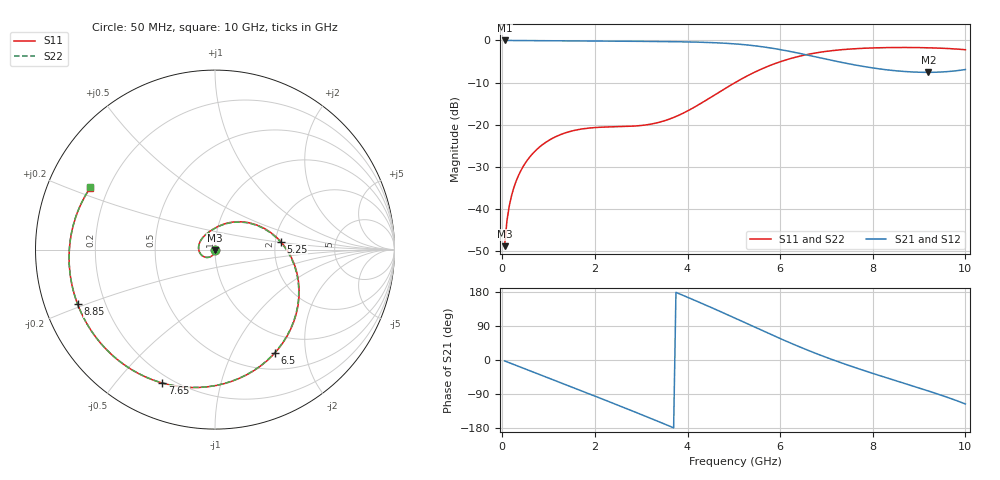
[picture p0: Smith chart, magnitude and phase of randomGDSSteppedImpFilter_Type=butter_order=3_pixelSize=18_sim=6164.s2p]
! freq	dB(S11)	phase(S11)	dB(S12)	phase(S12)
!  dB(S21)	phase(S21)	dB(S22)	phase(S22)
!S-par simulation data
#  GHz  S  DB  R 50
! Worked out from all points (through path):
!   200 points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, 50 MHz to 10 GHz, reference 50 ohm
!   highest |S21| = 0.00 dB at 50 MHz (marker M1); lowest = -7.6 dB at 9.2 GHz (marker M2)
!   group delay of S21, straight-line fit = 136 ps
!   lowest |S11| = -48.9 dB at 50 MHz (marker M3), VSWR 1.01, Z = 50 - j0.359 ohm
!   |S11| at or under -10 dB: start of sweep to 5.03 GHz
!   |S22| runs from -48.9 to -1.7 dB; largest |S21 - S12| = 0
!   S11 on the Smith chart (normalised r, x): 50 MHz: 1.00, -0.01; 5.25 GHz: 2.14, +0.22; 6.5 GHz: 0.72, -1.49; 7.65 GHz: 0.16, -0.67; 8.85 GHz: 0.10, -0.19; 10 GHz: 0.13, +0.23
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0.05  -48.91 -91.3  -0.00 -2.4  -0.00 -2.4  -48.91 -91.3
0.1  -42.89 -94.1  -0.01 -4.8  -0.01 -4.8  -42.89 -94.1
0.2  -36.90 -99.0  -0.02 -9.6  -0.02 -9.6  -36.90 -99.1
0.5  -29.11 -113.3  -0.03 -23.9  -0.03 -23.9  -29.11 -113.4
1.15  -22.89 -145.2  -0.08 -54.8  -0.08 -54.8  -22.90 -145.3
1.75  -21.00 -174.7  -0.13 -83.3  -0.13 -83.3  -21.00 -175.0
2.5  -20.51 148.9  -0.18 -119.4  -0.18 -119.4  -20.51 148.3
3.4  -19.42 104.1  -0.26 -163.8  -0.26 -163.8  -19.42 103.1
3.8  -17.84 83.7  -0.31 175.9  -0.31 175.9  -17.84 82.7
4.2  -15.54 63.2  -0.40 155.1  -0.40 155.1  -15.54 62.2
4.65  -12.52 39.6  -0.57 131.1  -0.57 131.1  -12.52 38.7
5.05  -9.87 17.9  -0.84 109.1  -0.84 109.1  -9.87 17.2
5.25  -8.66 6.9  -1.03 98.0  -1.03 98.0  -8.66 6.2
5.9  -5.45 -28.7  -1.98 62.0  -1.98 62.0  -5.45 -29.2
6.5  -3.55 -59.8  -3.26 30.6  -3.26 30.6  -3.55 -60.2
6.7  -3.11 -69.5  -3.74 20.8  -3.74 20.8  -3.11 -69.9
7.15  -2.39 -90.3  -4.81 -0.0  -4.81 -0.0  -2.39 -90.6
7.65  -1.95 -111.6  -5.90 -21.3  -5.90 -21.3  -1.95 -111.9
8.35  -1.69 -139.1  -7.04 -48.9  -7.04 -48.9  -1.69 -139.4
8.85  -1.69 -158.2  -7.49 -68.1  -7.49 -68.1  -1.68 -158.4
9.2  -1.75 -171.9  -7.59 -81.7  -7.59 -81.7  -1.75 -172.1
10  -2.21 153.5  -6.92 -116.0  -6.92 -116.0  -2.21 153.5
